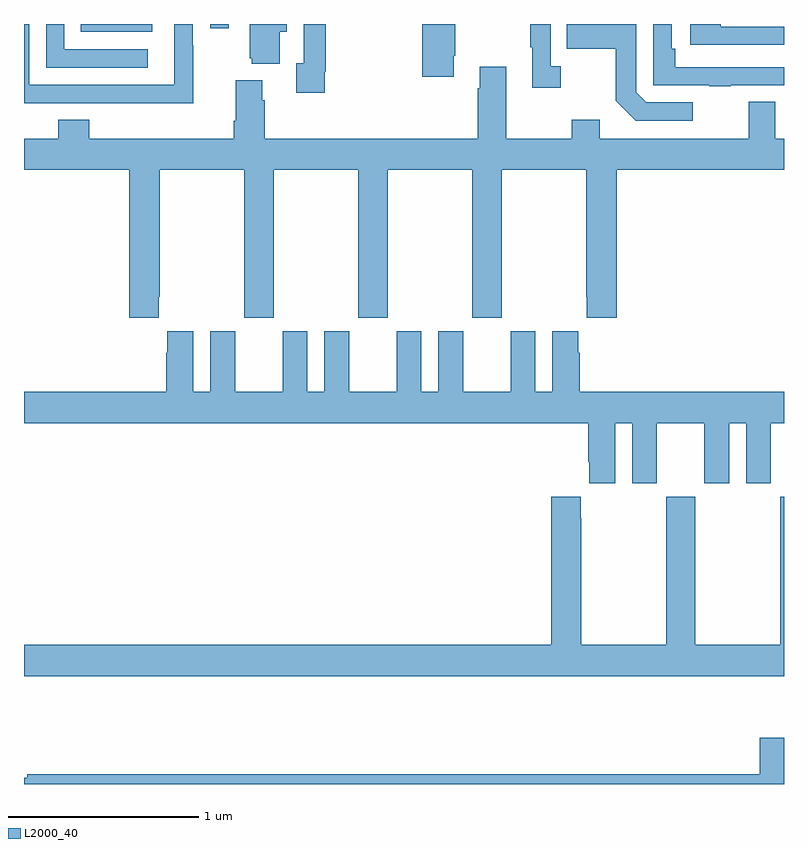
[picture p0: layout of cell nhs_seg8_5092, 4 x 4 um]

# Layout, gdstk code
import gdstk
lib = gdstk.Library(unit=1e-6, precision=1e-09)
def R(c, l, rs):  # rectangles x0, y0, x1, y1
    for r in rs: c.add(gdstk.rectangle(r[:2], r[2:], *l))
def P(c, l, *ps):  # polygons
    for p in ps: c.add(gdstk.Polygon(p, *l))
L2000_40 = (2000, 40)

nhs_seg8_5092 = lib.new_cell('nhs_seg8_5092')
R(nhs_seg8_5092, L2000_40, [(417.298,1151.858,417.676,1151.9), (417.981,1151.877,418.077,1151.9)])
P(nhs_seg8_5092, L2000_40, [(419.263,1151.734),(419.271,1151.734),(419.271,1151.9),(419.096,1151.9),(419.096,1151.622),(419.263,1151.622)],
  [(421,1151.886),(420.668,1151.886),(420.668,1151.9),(420.507,1151.9),(420.507,1151.79),(421,1151.79)],
  [(419.824,1151.678),(419.772,1151.678),(419.772,1151.9),(419.664,1151.9),(419.664,1151.777),(419.675,1151.777),(419.675,1151.565),(419.824,1151.565)],
  [(420.719,1151.577),(421,1151.577),(421,1151.673),(420.428,1151.673),(420.428,1151.77),(420.408,1151.77),(420.408,1151.9),(420.312,1151.9),(420.312,1151.577),(420.607,1151.577),(420.607,1151.572),(420.719,1151.572)],
  [(420.52,1151.487),(420.276,1151.487),(420.222,1151.541),(420.222,1151.9),(419.857,1151.9),(419.857,1151.77),(420.114,1151.77),(420.114,1151.497),(420.219,1151.391),(420.52,1151.391)],
  [(418.345,1151.858),(418.384,1151.858),(418.384,1151.9),(418.187,1151.9),(418.187,1151.721),(418.199,1151.721),(418.199,1151.69),(418.345,1151.69)],
  [(417.891,1151.789),(417.888,1151.789),(417.888,1151.9),(417.792,1151.9),(417.792,1151.58),(417.027,1151.58),(417.027,1151.9),(417,1151.9),(417,1151.484),(417.427,1151.484),(417.427,1151.483),(417.891,1151.483)],
  [(418.582,1151.65),(418.589,1151.65),(418.589,1151.9),(418.473,1151.9),(418.473,1151.694),(418.433,1151.694),(418.433,1151.538),(418.582,1151.538)],
  [(417.652,1151.766),(417.213,1151.766),(417.213,1151.9),(417.117,1151.9),(417.117,1151.67),(417.652,1151.67)],
  [(419.884,1151.296),(419.539,1151.296),(419.539,1151.674),(419.399,1151.674),(419.399,1151.561),(419.387,1151.561),(419.387,1151.296),(418.268,1151.296),(418.268,1151.498),(418.255,1151.498),(418.255,1151.605),(418.115,1151.605),(418.115,1151.392),(418.103,1151.392),(418.103,1151.296),(417.344,1151.296),(417.344,1151.395),(417.179,1151.395),(417.179,1151.296),(417,1151.296),(417,1151.132),(417.554,1151.132),(417.554,1150.353),(417.709,1150.353),(417.709,1150.465),(417.714,1150.465),(417.714,1151.132),(418.159,1151.132),(418.159,1150.353),(418.314,1150.353),(418.314,1151.132),(418.759,1151.132),(418.759,1150.353),(418.914,1150.353),(418.914,1151.132),(419.359,1151.132),(419.359,1150.353),(419.514,1150.353),(419.514,1151.132),(419.959,1151.132),(419.959,1150.465),(419.963,1150.465),(419.963,1150.353),(420.119,1150.353),(420.119,1151.132),(421,1151.132),(421,1151.296),(420.955,1151.296),(420.955,1151.491),(420.815,1151.491),(420.815,1151.296),(420.031,1151.296),(420.031,1151.395),(419.884,1151.395)],
  [(420.112,1149.8),(420.2,1149.8),(420.2,1149.483),(420.331,1149.483),(420.331,1149.8),(420.581,1149.8),(420.581,1149.483),(420.712,1149.483),(420.712,1149.8),(420.8,1149.8),(420.8,1149.483),(420.931,1149.483),(420.931,1149.8),(421,1149.8),(421,1149.964),(419.924,1149.964),(419.924,1150.169),(419.917,1150.169),(419.917,1150.282),(419.78,1150.282),(419.78,1149.964),(419.692,1149.964),(419.692,1150.282),(419.561,1150.282),(419.561,1149.964),(419.311,1149.964),(419.311,1150.282),(419.18,1150.282),(419.18,1149.964),(419.092,1149.964),(419.092,1150.282),(418.961,1150.282),(418.961,1149.964),(418.711,1149.964),(418.711,1150.282),(418.58,1150.282),(418.58,1149.964),(418.492,1149.964),(418.492,1150.282),(418.361,1150.282),(418.361,1149.964),(418.111,1149.964),(418.111,1150.282),(417.98,1150.282),(417.98,1149.964),(417.892,1149.964),(417.892,1150.282),(417.755,1150.282),(417.755,1150.169),(417.749,1150.169),(417.749,1149.964),(417,1149.964),(417,1149.8),(419.969,1149.8),(419.969,1149.595),(419.975,1149.595),(419.975,1149.483),(420.112,1149.483)],
  [(421,1149.412),(420.979,1149.412),(420.979,1148.632),(420.534,1148.632),(420.534,1149.412),(420.379,1149.412),(420.379,1148.632),(419.934,1148.632),(419.934,1149.299),(419.929,1149.299),(419.929,1149.412),(419.774,1149.412),(419.774,1148.632),(417,1148.632),(417,1148.468),(421,1148.468)],
  [(421,1148.143),(420.872,1148.143),(420.872,1147.952),(417.016,1147.952),(417.016,1147.933),(417,1147.933),(417,1147.9),(421,1147.9)])

lib.write_gds('nhs_seg8_5092.gds')
